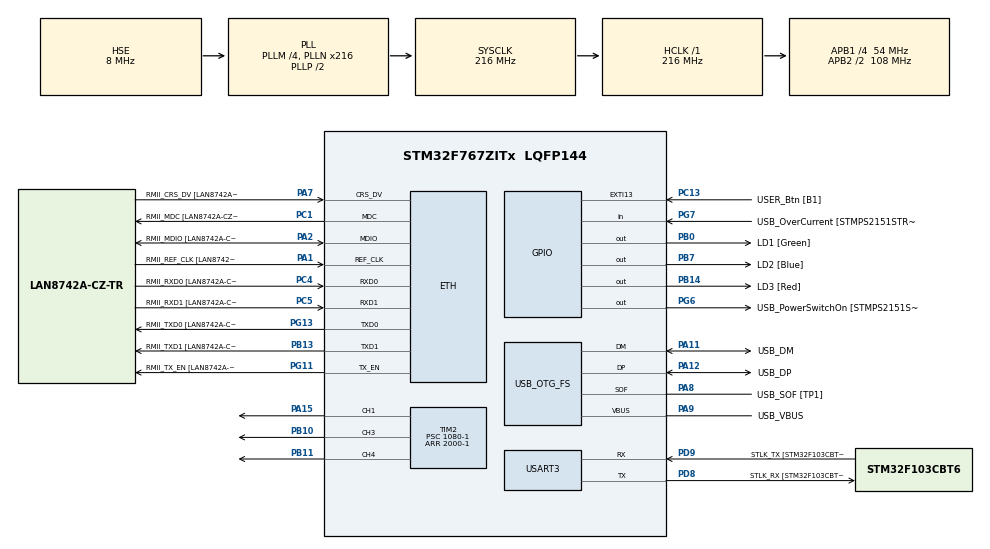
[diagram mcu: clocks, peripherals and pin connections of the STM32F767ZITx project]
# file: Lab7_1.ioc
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ETH.MediaInterface=HAL_ETH_RMII_MODE
ETH.PHY_Name=LAN8742A_PHY_ADDRESS
ETH.PHY_Value=0
ETH.PhyAddress=0
Mcu.Family=STM32F7
Mcu.Name=STM32F767ZITx
Mcu.Package=LQFP144
NVIC.PriorityGroup=NVIC_PRIORITYGROUP_4
NVIC.USART3_IRQn=true\:1\:0\:true\:false\:true\:true\:true\:true
PA1.GPIO_Label=RMII_REF_CLK [LAN8742A-CZ-TR_REFCLK0]
PA1.Mode=RMII
PA1.Signal=ETH_REF_CLK
PA10.GPIO_Label=USB_ID
PA10.Signal=USB_OTG_FS_ID
PA11.GPIO_Label=USB_DM
PA11.Mode=Device_Only
PA11.Signal=USB_OTG_FS_DM
PA12.GPIO_Label=USB_DP
PA12.Mode=Device_Only
PA12.Signal=USB_OTG_FS_DP
PA13.GPIO_Label=TMS
PA13.Mode=Serial_Wire
PA13.Signal=SYS_JTMS-SWDIO
PA14.GPIO_Label=TCK
PA14.Mode=Serial_Wire
PA14.Signal=SYS_JTCK-SWCLK
PA15.GPIO_Speed=GPIO_SPEED_FREQ_VERY_HIGH
PA15.Signal=S_TIM2_CH1_ETR
PA2.GPIO_Label=RMII_MDIO [LAN8742A-CZ-TR_MDIO]
PA2.Mode=RMII
PA2.Signal=ETH_MDIO
PA7.GPIO_Label=RMII_CRS_DV [LAN8742A-CZ-TR_CRS_DV]
PA7.Mode=RMII
PA7.Signal=ETH_CRS_DV
PA8.GPIO_Label=USB_SOF [TP1]
PA8.Mode=Activate_SOF_FS
PA8.Signal=USB_OTG_FS_SOF
PA9.GPIO_Label=USB_VBUS
PA9.Mode=Activate_VBUS
PA9.Signal=USB_OTG_FS_VBUS
PB0.GPIO_Label=LD1 [Green]
PB0.Signal=GPIO_Output
PB10.GPIO_Speed=GPIO_SPEED_FREQ_VERY_HIGH
PB10.Signal=S_TIM2_CH3
PB11.GPIO_Speed=GPIO_SPEED_FREQ_VERY_HIGH
PB11.Signal=S_TIM2_CH4
PB13.GPIO_Label=RMII_TXD1 [LAN8742A-CZ-TR_TXD1]
PB13.Mode=RMII
PB13.Signal=ETH_TXD1
PB14.GPIO_Label=LD3 [Red]
PB14.Signal=GPIO_Output
PB3.GPIO_Label=SWO
PB3.Signal=SYS_JTDO-SWO
PB7.GPIO_Label=LD2 [Blue]
PB7.Signal=GPIO_Output
PC1.GPIO_Label=RMII_MDC [LAN8742A-CZ-TR_MDC]
PC1.Mode=RMII
PC1.Signal=ETH_MDC
PC13.GPIO_Label=USER_Btn [B1]
PC13.Signal=GPXTI13
PC14/OSC32_IN.Mode=LSE-External-Oscillator
PC14/OSC32_IN.Signal=RCC_OSC32_IN
PC15/OSC32_OUT.Mode=LSE-External-Oscillator
PC15/OSC32_OUT.Signal=RCC_OSC32_OUT
PC4.GPIO_Label=RMII_RXD0 [LAN8742A-CZ-TR_RXD0]
PC4.Mode=RMII
PC4.Signal=ETH_RXD0
PC5.GPIO_Label=RMII_RXD1 [LAN8742A-CZ-TR_RXD1]
PC5.Mode=RMII
PC5.Signal=ETH_RXD1
PD8.GPIO_Label=STLK_RX [STM32F103CBT6_PA3]
PD8.Mode=Asynchronous
PD8.Signal=USART3_TX
PD9.GPIO_Label=STLK_TX [STM32F103CBT6_PA2]
PD9.Mode=Asynchronous
PD9.Signal=USART3_RX
PG11.GPIO_Label=RMII_TX_EN [LAN8742A-CZ-TR_TXEN]
PG11.Mode=RMII
PG11.Signal=ETH_TX_EN
PG13.GPIO_Label=RMII_TXD0 [LAN8742A-CZ-TR_TXD0]
PG13.Mode=RMII
PG13.Signal=ETH_TXD0
PG6.GPIO_Label=USB_PowerSwitchOn [STMPS2151STR_EN]
PG6.Signal=GPIO_Output
PG7.GPIO_Label=USB_OverCurrent [STMPS2151STR_FAULT]
PG7.Signal=GPIO_Input
PH0/OSC_IN.GPIO_Label=MCO [STM32F103CBT6_PA8]
PH0/OSC_IN.Mode=HSE-External-Clock-Source
PH0/OSC_IN.Signal=RCC_OSC_IN
PH1/OSC_OUT.Mode=HSE-External-Clock-Source
PH1/OSC_OUT.Signal=RCC_OSC_OUT
ProjectManager.HeapSize=0x200
ProjectManager.StackSize=0x400
ProjectManager.TargetToolchain=STM32CubeIDE
RCC.48MHZClocksFreq_Value=24000000
RCC.AHBFreq_Value=216000000
RCC.APB1CLKDivider=RCC_HCLK_DIV4
RCC.APB1Freq_Value=54000000
RCC.APB1TimFreq_Value=108000000
RCC.APB2CLKDivider=RCC_HCLK_DIV2
RCC.APB2Freq_Value=108000000
RCC.APB2TimFreq_Value=216000000
RCC.CortexFreq_Value=216000000
RCC.HCLKFreq_Value=216000000
RCC.HSE_VALUE=8000000
RCC.HSI_VALUE=16000000
RCC.PLLM=4
RCC.PLLMUL=RCC_PLL_MUL9
RCC.PLLN=216
RCC.PLLQ=9
RCC.PRESCALERUSB=RCC_USBCLKSOURCE_PLL_DIV1_5
RCC.SYSCLKFreq_VALUE=216000000
RCC.SYSCLKSource=RCC_SYSCLKSOURCE_PLLCLK
RCC.SYSCLKSourceVirtual=RCC_SYSCLKSOURCE_PLLCLK
RCC.USBFreq_Value=48000000
RCC.VCOOutputFreq_Value=432000000
SH.S_TIM2_CH1_ETR.0=TIM2_CH1,PWM Generation1 CH1
SH.S_TIM2_CH3.0=TIM2_CH3,PWM Generation3 CH3
SH.S_TIM2_CH4.0=TIM2_CH4,PWM Generation4 CH4
TIM2.AutoReloadPreload=TIM_AUTORELOAD_PRELOAD_DISABLE
TIM2.Channel-PWM\ Generation1\ CH1=TIM_CHANNEL_1
TIM2.Channel-PWM\ Generation3\ CH3=TIM_CHANNEL_3
TIM2.Channel-PWM\ Generation4\ CH4=TIM_CHANNEL_4
TIM2.Period=2000-1
TIM2.Prescaler=1080-1
TIM2.Pulse-PWM\ Generation3\ CH3=0
USART3.VirtualMode-Asynchronous=VM_ASYNC
USB_OTG_FS.VirtualMode=Device_Only
VP_TIM2_VS_ClockSourceINT.Mode=Internal
board=NUCLEO-F767ZI

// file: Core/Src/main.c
/* USER CODE BEGIN Header */
/**
 ******************************************************************************
 * @file           : main.c
 * @brief          : Main program body
 ******************************************************************************
 * @attention
 *
 * Copyright (c) 2023 STMicroelectronics.
 * All rights reserved.
 *
 * This software is licensed under terms that can be found in the LICENSE file
 * in the root directory of this software component.
 * If no LICENSE file comes with this software, it is provided AS-IS.
 *
 ******************************************************************************
 */
/* USER CODE END Header */
#include "main.h"
#include "string.h"

#if defined ( __ICCARM__ ) /*!< IAR Compiler */
#pragma location=0x2007c000
ETH_DMADescTypeDef  DMARxDscrTab[ETH_RX_DESC_CNT]; /* Ethernet Rx DMA Descriptors */
#pragma location=0x2007c0a0
ETH_DMADescTypeDef  DMATxDscrTab[ETH_TX_DESC_CNT]; /* Ethernet Tx DMA Descriptors */

#elif defined ( __CC_ARM )  /* MDK ARM Compiler */

__attribute__((at(0x2007c000))) ETH_DMADescTypeDef  DMARxDscrTab[ETH_RX_DESC_CNT]; /* Ethernet Rx DMA Descriptors */
__attribute__((at(0x2007c0a0))) ETH_DMADescTypeDef  DMATxDscrTab[ETH_TX_DESC_CNT]; /* Ethernet Tx DMA Descriptors */

#elif defined ( __GNUC__ ) /* GNU Compiler */
ETH_DMADescTypeDef DMARxDscrTab[ETH_RX_DESC_CNT] __attribute__((section(".RxDecripSection"))); /* Ethernet Rx DMA Descriptors */
ETH_DMADescTypeDef DMATxDscrTab[ETH_TX_DESC_CNT] __attribute__((section(".TxDecripSection")));   /* Ethernet Tx DMA Descriptors */

#endif

ETH_TxPacketConfig TxConfig;

ETH_HandleTypeDef heth;

TIM_HandleTypeDef htim2;

UART_HandleTypeDef huart3;

PCD_HandleTypeDef hpcd_USB_OTG_FS;

/* USER CODE BEGIN PV */
uint8_t pwmR;
uint8_t pwmG;
uint8_t pwmB;
float dutyCycleR = 0;
float dutyCycleG = 0;
float dutyCycleB = 0;
char ch1;
/* USER CODE END PV */

void SystemClock_Config(void);
static void MX_GPIO_Init(void);
static void MX_ETH_Init(void);
static void MX_USART3_UART_Init(void);
static void MX_USB_OTG_FS_PCD_Init(void);
static void MX_TIM2_Init(void);

int main(void)
{

  /* MCU Configuration--------------------------------------------------------*/

  /* Reset of all peripherals, Initializes the Flash interface and the Systick. */
  HAL_Init();

  /* Configure the system clock */
  SystemClock_Config();

  /* Initialize all configured peripherals */
  MX_GPIO_Init();
  MX_ETH_Init();
  MX_USART3_UART_Init();
  MX_USB_OTG_FS_PCD_Init();
  MX_TIM2_Init();
  /* USER CODE BEGIN 2 */
	HAL_TIM_PWM_Start(&htim2, TIM_CHANNEL_1);
	HAL_TIM_PWM_Start(&htim2, TIM_CHANNEL_3);
	HAL_TIM_PWM_Start(&htim2, TIM_CHANNEL_4);
	HAL_UART_Receive_IT(&huart3, (uint8_t*) &ch1, 1);
  /* USER CODE END 2 */

  /* Infinite loop */
  /* USER CODE BEGIN WHILE */
	while (1) {

		pwmR = ((GPIOA->IDR & GPIO_PIN_15) >> 15);
		pwmG = ((GPIOB->IDR & GPIO_PIN_10) >> 10) + 2;
		pwmB = ((GPIOB->IDR & GPIO_PIN_11) >> 11) + 4;

		//HAL_Delay(25);
//		HAL_TIM_PWM_Stop(&htim2, TIM_CHANNEL_1);
//		HAL_TIM_PWM_Stop(&htim2, TIM_CHANNEL_3);
//		HAL_TIM_PWM_Stop(&htim2, TIM_CHANNEL_4);

    /* USER CODE END WHILE */

	}
}

void SystemClock_Config(void)
{
  RCC_OscInitTypeDef RCC_OscInitStruct = {0};
  RCC_ClkInitTypeDef RCC_ClkInitStruct = {0};

  /** Configure LSE Drive Capability
  */
  HAL_PWR_EnableBkUpAccess();

  /** Configure the main internal regulator output voltage
  */
  __HAL_RCC_PWR_CLK_ENABLE();
  __HAL_PWR_VOLTAGESCALING_CONFIG(PWR_REGULATOR_VOLTAGE_SCALE1);

  /** Initializes the RCC Oscillators according to the specified parameters
  * in the RCC_OscInitTypeDef structure.
  */
  RCC_OscInitStruct.OscillatorType = RCC_OSCILLATORTYPE_HSE;
  RCC_OscInitStruct.HSEState = RCC_HSE_BYPASS;
  RCC_OscInitStruct.PLL.PLLState = RCC_PLL_ON;
  RCC_OscInitStruct.PLL.PLLSource = RCC_PLLSOURCE_HSE;
  RCC_OscInitStruct.PLL.PLLM = 4;
  RCC_OscInitStruct.PLL.PLLN = 216;
  RCC_OscInitStruct.PLL.PLLP = RCC_PLLP_DIV2;
  RCC_OscInitStruct.PLL.PLLQ = 9;
  RCC_OscInitStruct.PLL.PLLR = 2;
  if (HAL_RCC_OscConfig(&RCC_OscInitStruct) != HAL_OK)
  {
    Error_Handler();
  }

  /** Activate the Over-Drive mode
  */
  if (HAL_PWREx_EnableOverDrive() != HAL_OK)
  {
    Error_Handler();
  }

  /** Initializes the CPU, AHB and APB buses clocks
  */
  RCC_ClkInitStruct.ClockType = RCC_CLOCKTYPE_HCLK|RCC_CLOCKTYPE_SYSCLK
                              |RCC_CLOCKTYPE_PCLK1|RCC_CLOCKTYPE_PCLK2;
  RCC_ClkInitStruct.SYSCLKSource = RCC_SYSCLKSOURCE_PLLCLK;
  RCC_ClkInitStruct.AHBCLKDivider = RCC_SYSCLK_DIV1;
  RCC_ClkInitStruct.APB1CLKDivider = RCC_HCLK_DIV4;
  RCC_ClkInitStruct.APB2CLKDivider = RCC_HCLK_DIV2;

  if (HAL_RCC_ClockConfig(&RCC_ClkInitStruct, FLASH_LATENCY_7) != HAL_OK)
  {
    Error_Handler();
  }
}

static void MX_ETH_Init(void)
{

   static uint8_t MACAddr[6];

  heth.Instance = ETH;
  MACAddr[0] = 0x00;
  MACAddr[1] = 0x80;
  MACAddr[2] = 0xE1;
  MACAddr[3] = 0x00;
  MACAddr[4] = 0x00;
  MACAddr[5] = 0x00;
  heth.Init.MACAddr = &MACAddr[0];
  heth.Init.MediaInterface = HAL_ETH_RMII_MODE;
  heth.Init.TxDesc = DMATxDscrTab;
  heth.Init.RxDesc = DMARxDscrTab;
  heth.Init.RxBuffLen = 1524;

  if (HAL_ETH_Init(&heth) != HAL_OK)
  {
    Error_Handler();
  }

  memset(&TxConfig, 0 , sizeof(ETH_TxPacketConfig));
  TxConfig.Attributes = ETH_TX_PACKETS_FEATURES_CSUM | ETH_TX_PACKETS_FEATURES_CRCPAD;
  TxConfig.ChecksumCtrl = ETH_CHECKSUM_IPHDR_PAYLOAD_INSERT_PHDR_CALC;
  TxConfig.CRCPadCtrl = ETH_CRC_PAD_INSERT;

}

static void MX_TIM2_Init(void)
{

  TIM_ClockConfigTypeDef sClockSourceConfig = {0};
  TIM_MasterConfigTypeDef sMasterConfig = {0};
  TIM_OC_InitTypeDef sConfigOC = {0};

  htim2.Instance = TIM2;
  htim2.Init.Prescaler = 1080-1;
  htim2.Init.CounterMode = TIM_COUNTERMODE_UP;
  htim2.Init.Period = 2000-1;
  htim2.Init.ClockDivision = TIM_CLOCKDIVISION_DIV1;
  htim2.Init.AutoReloadPreload = TIM_AUTORELOAD_PRELOAD_DISABLE;
  if (HAL_TIM_Base_Init(&htim2) != HAL_OK)
  {
    Error_Handler();
  }
  sClockSourceConfig.ClockSource = TIM_CLOCKSOURCE_INTERNAL;
  if (HAL_TIM_ConfigClockSource(&htim2, &sClockSourceConfig) != HAL_OK)
  {
    Error_Handler();
  }
  if (HAL_TIM_PWM_Init(&htim2) != HAL_OK)
  {
    Error_Handler();
  }
  sMasterConfig.MasterOutputTrigger = TIM_TRGO_RESET;
  sMasterConfig.MasterSlaveMode = TIM_MASTERSLAVEMODE_DISABLE;
  if (HAL_TIMEx_MasterConfigSynchronization(&htim2, &sMasterConfig) != HAL_OK)
  {
    Error_Handler();
  }
  sConfigOC.OCMode = TIM_OCMODE_PWM1;
  sConfigOC.Pulse = 0;
  sConfigOC.OCPolarity = TIM_OCPOLARITY_HIGH;
  sConfigOC.OCFastMode = TIM_OCFAST_DISABLE;
  if (HAL_TIM_PWM_ConfigChannel(&htim2, &sConfigOC, TIM_CHANNEL_1) != HAL_OK)
  {
    Error_Handler();
  }
  if (HAL_TIM_PWM_ConfigChannel(&htim2, &sConfigOC, TIM_CHANNEL_3) != HAL_OK)
  {
    Error_Handler();
  }
  if (HAL_TIM_PWM_ConfigChannel(&htim2, &sConfigOC, TIM_CHANNEL_4) != HAL_OK)
  {
    Error_Handler();
  }
  HAL_TIM_MspPostInit(&htim2);

}

static void MX_USART3_UART_Init(void)
{

  huart3.Instance = USART3;
  huart3.Init.BaudRate = 115200;
  huart3.Init.WordLength = UART_WORDLENGTH_8B;
  huart3.Init.StopBits = UART_STOPBITS_1;
  huart3.Init.Parity = UART_PARITY_NONE;
  huart3.Init.Mode = UART_MODE_TX_RX;
  huart3.Init.HwFlowCtl = UART_HWCONTROL_NONE;
  huart3.Init.OverSampling = UART_OVERSAMPLING_16;
  huart3.Init.OneBitSampling = UART_ONE_BIT_SAMPLE_DISABLE;
  huart3.AdvancedInit.AdvFeatureInit = UART_ADVFEATURE_NO_INIT;
  if (HAL_UART_Init(&huart3) != HAL_OK)
  {
    Error_Handler();
  }

}

static void MX_USB_OTG_FS_PCD_Init(void)
{

  hpcd_USB_OTG_FS.Instance = USB_OTG_FS;
  hpcd_USB_OTG_FS.Init.dev_endpoints = 6;
  hpcd_USB_OTG_FS.Init.speed = PCD_SPEED_FULL;
  hpcd_USB_OTG_FS.Init.dma_enable = DISABLE;
  hpcd_USB_OTG_FS.Init.phy_itface = PCD_PHY_EMBEDDED;
  hpcd_USB_OTG_FS.Init.Sof_enable = ENABLE;
  hpcd_USB_OTG_FS.Init.low_power_enable = DISABLE;
  hpcd_USB_OTG_FS.Init.lpm_enable = DISABLE;
  hpcd_USB_OTG_FS.Init.vbus_sensing_enable = ENABLE;
  hpcd_USB_OTG_FS.Init.use_dedicated_ep1 = DISABLE;
  if (HAL_PCD_Init(&hpcd_USB_OTG_FS) != HAL_OK)
  {
    Error_Handler();
  }

}

static void MX_GPIO_Init(void)
{
  GPIO_InitTypeDef GPIO_InitStruct = {0};

  /* GPIO Ports Clock Enable */
  __HAL_RCC_GPIOC_CLK_ENABLE();
  __HAL_RCC_GPIOH_CLK_ENABLE();
  __HAL_RCC_GPIOA_CLK_ENABLE();
  __HAL_RCC_GPIOB_CLK_ENABLE();
  __HAL_RCC_GPIOD_CLK_ENABLE();
  __HAL_RCC_GPIOG_CLK_ENABLE();

  /*Configure GPIO pin Output Level */
  HAL_GPIO_WritePin(GPIOB, LD1_Pin|LD3_Pin|LD2_Pin, GPIO_PIN_RESET);

  /*Configure GPIO pin Output Level */
  HAL_GPIO_WritePin(USB_PowerSwitchOn_GPIO_Port, USB_PowerSwitchOn_Pin, GPIO_PIN_RESET);

  /*Configure GPIO pin : USER_Btn_Pin */
  GPIO_InitStruct.Pin = USER_Btn_Pin;
  GPIO_InitStruct.Mode = GPIO_MODE_IT_RISING;
  GPIO_InitStruct.Pull = GPIO_NOPULL;
  HAL_GPIO_Init(USER_Btn_GPIO_Port, &GPIO_InitStruct);

  /*Configure GPIO pins : LD1_Pin LD3_Pin LD2_Pin */
  GPIO_InitStruct.Pin = LD1_Pin|LD3_Pin|LD2_Pin;
  GPIO_InitStruct.Mode = GPIO_MODE_OUTPUT_PP;
  GPIO_InitStruct.Pull = GPIO_NOPULL;
  GPIO_InitStruct.Speed = GPIO_SPEED_FREQ_LOW;
  HAL_GPIO_Init(GPIOB, &GPIO_InitStruct);

  /*Configure GPIO pin : USB_PowerSwitchOn_Pin */
  GPIO_InitStruct.Pin = USB_PowerSwitchOn_Pin;
  GPIO_InitStruct.Mode = GPIO_MODE_OUTPUT_PP;
  GPIO_InitStruct.Pull = GPIO_NOPULL;
  GPIO_InitStruct.Speed = GPIO_SPEED_FREQ_LOW;
  HAL_GPIO_Init(USB_PowerSwitchOn_GPIO_Port, &GPIO_InitStruct);

  /*Configure GPIO pin : USB_OverCurrent_Pin */
  GPIO_InitStruct.Pin = USB_OverCurrent_Pin;
  GPIO_InitStruct.Mode = GPIO_MODE_INPUT;
  GPIO_InitStruct.Pull = GPIO_NOPULL;
  HAL_GPIO_Init(USB_OverCurrent_GPIO_Port, &GPIO_InitStruct);

}

/* USER CODE BEGIN 4 */
void HAL_UART_RxCpltCallback(UART_HandleTypeDef *huart) {
	if (huart == &huart3) {
		HAL_UART_Receive_IT(&huart3, (uint8_t*) &ch1, 1);
		while (__HAL_UART_GET_FLAG(&huart3,UART_FLAG_TC) == RESET) {
		}
		HAL_UART_Transmit(&huart3, (uint8_t*) &ch1, 1, 100);
		if (ch1 == 'r') {
			dutyCycleR += 0.2;
			if (dutyCycleR > 1) {
				dutyCycleR = 0;
			}
			htim2.Instance->CCR1 = (2000 - 1) * dutyCycleR;

		}
		if (ch1 == 'g') {
			dutyCycleG += 0.2;
			if (dutyCycleG > 1) {
				dutyCycleG = 0;
			}
			htim2.Instance->CCR3 = (2000 - 1) * dutyCycleG;

		}
		if (ch1 == 'b') {
			dutyCycleB += 0.2;
			if (dutyCycleB > 1) {
				dutyCycleB = 0;
			}
			htim2.Instance->CCR4 = (2000 - 1) * dutyCycleB;

		}
	}
}
/* USER CODE END 4 */

void Error_Handler(void)
{
	__disable_irq();
	while (1) {
	}
}
